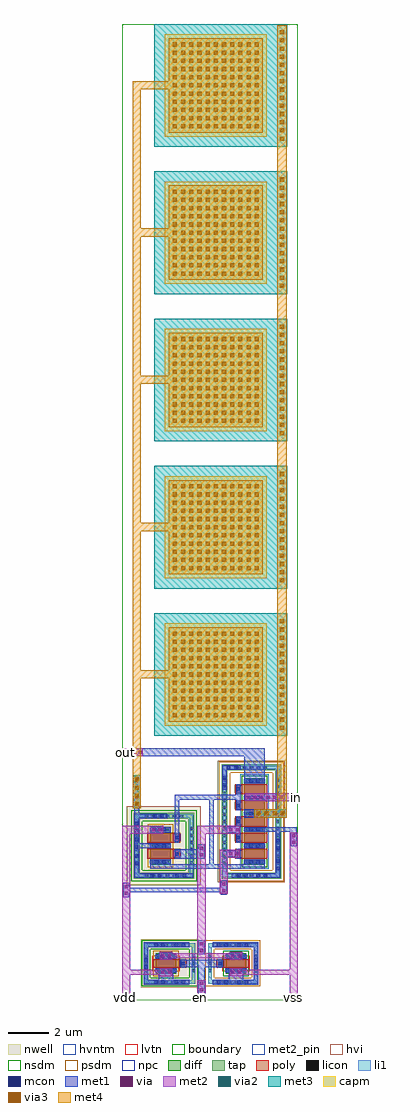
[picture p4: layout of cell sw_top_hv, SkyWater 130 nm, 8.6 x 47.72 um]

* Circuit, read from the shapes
.subckt sw_top_hv en in out vdd vss
XM1 n1 en vss vss sky130_fd_pr__nfet_01v8_lvt w=1 l=0.4
XM2 n2 vdd n3 vss sky130_fd_pr__nfet_g5v0d10v5 w=1 l=0.5
XM3 vss n1 n2 vss sky130_fd_pr__nfet_g5v0d10v5 w=1 l=0.5
XM4 n4 n1 vss vss sky130_fd_pr__nfet_g5v0d10v5 w=1 l=0.5
XM5 in n3 n4 vss sky130_fd_pr__nfet_g5v0d10v5 w=1 l=0.5
XM6 out n3 in vss sky130_fd_pr__nfet_g5v0d10v5 w=1 l=0.5
XM7 n5 n1 n3 n5 sky130_fd_pr__pfet_g5v0d10v5 w=1 l=0.5
XM8 vdd n3 n5 n5 sky130_fd_pr__pfet_g5v0d10v5 w=1 l=0.5
XM9 n1 en vdd vdd sky130_fd_pr__pfet_01v8_lvt w=1 l=0.4
XC10 n5 n4 sky130_fd_pr__cap_mim_m3_1 w=5 l=5 m=5
.ends

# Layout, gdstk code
from math import pi, radians
import gdstk
lib = gdstk.Library(unit=1e-6, precision=1e-09)
def R(c, l, rs):  # rectangles x0, y0, x1, y1
    for r in rs: c.add(gdstk.rectangle(r[:2], r[2:], *l))
def A(c, l, x, y, w, h, nx, ny, dx, dy):  # array of equal rectangles
    R(c, l, [(x+i*dx, y+j*dy, x+i*dx+w, y+j*dy+h) for i in range(nx) for j in range(ny)])
nwell = (64, 20)
diff = (65, 20)
tap = (65, 44)
poly = (66, 20)
licon = (66, 44)
li1 = (67, 20)
mcon = (67, 44)
met1 = (68, 20)
via = (68, 44)
met2_pin = (69, 16)
met2 = (69, 20)
via2 = (69, 44)
met3 = (70, 20)
via3 = (70, 44)
met4 = (71, 20)
hvi = (75, 20)
capm = (89, 44)
nsdm = (93, 44)
psdm = (94, 20)
npc = (95, 20)
hvntm = (125, 20)
lvtn = (125, 44)
boundary = (235, 4)

msn = lib.new_cell('Msn')
R(msn, diff, [(-0.345,-2.12,0.655,2.12)])
R(msn, tap, [(-1.455,-2.79,-1.165,2.79), (-1.165,-2.79,1.165,-2.5), (1.165,-2.79,1.455,2.79), (-1.165,2.5,1.165,2.79)])
A(msn, poly, -0.785, -1.83, 1.57, 0.5, 1, 5, 0, 0.79)
A(msn, licon, -0.765, -2.73, 0.17, 0.17, 5, 2, 0.34, 5.29)
A(msn, licon, -1.395, -2.125, 0.17, 0.17, 1, 13, 0, 0.34)
A(msn, licon, 1.225, -2.125, 0.17, 0.17, 1, 13, 0, 0.34)
A(msn, licon, -0.27, -2.06, 0.17, 0.17, 3, 6, 0.34, 0.79)
A(msn, licon, -0.705, -1.665, 0.17, 0.17, 1, 5, 0, 0.79)
A(msn, li1, -0.365, -2.06, 1.04, 0.17, 1, 6, 0, 0.79)
A(msn, li1, -0.705, -1.83, 0.17, 0.5, 1, 5, 0, 0.79)
R(msn, li1, [(-1.395,-2.73,-1.225,2.73), (-1.225,-2.73,1.225,-2.56), (1.225,-2.73,1.395,2.73), (-1.225,2.56,1.225,2.73)])
A(msn, mcon, -0.11, -2.06, 0.17, 0.17, 1, 6, 0, 0.79)
A(msn, mcon, 0.25, -2.06, 0.17, 0.17, 1, 6, 0, 0.79)
A(msn, mcon, -0.705, -1.665, 0.17, 0.17, 1, 5, 0, 0.79)
A(msn, met1, -0.345, -2.09, 1, 0.23, 1, 6, 0, 0.79)
A(msn, met1, -0.735, -1.81, 0.23, 0.46, 1, 5, 0, 0.79)
R(msn, hvi, [(-1.64,-2.975,1.64,2.975)])
R(msn, nsdm, [(-0.47,-2.245,0.78,2.245)])
R(msn, psdm, [(-1.58,-2.915,-1.04,2.915), (-1.04,-2.915,1.04,-2.375), (1.04,-2.915,1.58,2.915), (-1.04,2.375,1.04,2.915)])
A(msn, npc, -0.805, -1.765, 0.37, 0.37, 1, 5, 0, 0.79)
R(msn, hvntm, [(-0.53,-2.305,0.84,2.305)])
R(msn, boundary, [(-1.31,-2.645,1.31,2.645)])

via_m2_m3_6 = lib.new_cell('via_M2_M3$6')
R(via_m2_m3_6, met2, [(-0.4,0,0,0.8)])
R(via_m2_m3_6, via2, [(-0.3,0.1,-0.1,0.3), (-0.3,0.1,-0.1,0.3), (-0.3,0.5,-0.1,0.7), (-0.3,0.5,-0.1,0.7)])
R(via_m2_m3_6, met3, [(-0.4,0,0,0.8)])

via_m1_m2_7 = lib.new_cell('via_M1_M2$7')
R(via_m1_m2_7, met1, [(-0.35,0,-0.05,0.7)])
R(via_m1_m2_7, via, [(-0.275,0.115,-0.125,0.265), (-0.275,0.435,-0.125,0.585)])
R(via_m1_m2_7, met2, [(-0.4,0.05,0,0.65)])

dacswtinv__mn = lib.new_cell('dacswtinv__MN')
R(dacswtinv__mn, diff, [(-0.345,-0.49,0.655,0.49)])
R(dacswtinv__mn, tap, [(-1.215,-1,-1.045,1), (-1.045,-1,1.045,-0.83), (1.045,-1,1.215,1), (-1.045,0.83,1.045,1)])
R(dacswtinv__mn, poly, [(-0.785,-0.2,0.785,0.2)])
A(dacswtinv__mn, licon, -0.595, -1, 0.17, 0.17, 4, 2, 0.34, 1.83)
A(dacswtinv__mn, licon, -0.27, -0.43, 0.17, 0.17, 3, 2, 0.34, 0.69)
A(dacswtinv__mn, licon, -1.215, -0.425, 0.17, 0.17, 1, 3, 0, 0.34)
A(dacswtinv__mn, licon, 1.045, -0.425, 0.17, 0.17, 1, 3, 0, 0.34)
R(dacswtinv__mn, licon, [(-0.705,-0.085,-0.535,0.085)])
R(dacswtinv__mn, li1, [(-1.215,-1,-1.045,1), (-1.045,-1,1.045,-0.83), (1.045,-1,1.215,1), (-0.365,-0.43,0.675,-0.26), (-0.705,-0.2,-0.535,0.2), (-0.365,0.26,0.675,0.43), (-1.045,0.83,1.045,1)])
R(dacswtinv__mn, mcon, [(-0.11,-0.43,0.06,-0.26), (0.25,-0.43,0.42,-0.26), (-0.705,-0.085,-0.535,0.085), (-0.11,0.26,0.06,0.43), (0.25,0.26,0.42,0.43)])
R(dacswtinv__mn, met1, [(-0.345,-0.46,0.655,-0.23), (-0.735,-0.18,-0.505,0.18), (-0.345,0.23,0.655,0.46)])
R(dacswtinv__mn, nsdm, [(-0.47,-0.615,0.78,0.615)])
R(dacswtinv__mn, psdm, [(-1.34,-1.125,-0.92,1.125), (-0.92,-1.125,0.92,-0.705), (0.92,-1.125,1.34,1.125), (-0.92,0.705,0.92,1.125)])
R(dacswtinv__mn, npc, [(-0.805,-0.185,-0.435,0.185)])
R(dacswtinv__mn, lvtn, [(-0.525,-0.38,0.835,0.38)])
R(dacswtinv__mn, boundary, [(-1.13,-0.915,1.13,0.915)])

via_li_m1_2 = lib.new_cell('via_LI_M1$2')
R(via_li_m1_2, li1, [(-0.2,0.03,-0.03,0.56)])
R(via_li_m1_2, mcon, [(-0.2,0.03,-0.03,0.2), (-0.2,0.39,-0.03,0.56)])
R(via_li_m1_2, met1, [(-0.23,0,0,0.59)])

dacswtinv__mp = lib.new_cell('dacswtinv__MP')
R(dacswtinv__mp, nwell, [(-1.42,-1.18,1.42,1.18)])
R(dacswtinv__mp, diff, [(-0.68,-0.49,0.32,0.49)])
R(dacswtinv__mp, tap, [(-1.24,-1,-1.07,1), (-1.07,-1,1.07,-0.83), (1.07,-1,1.24,1), (-1.07,0.83,1.07,1)])
R(dacswtinv__mp, poly, [(-0.81,-0.2,0.805,0.2)])
A(dacswtinv__mp, licon, -0.595, -1, 0.17, 0.17, 4, 2, 0.34, 1.83)
A(dacswtinv__mp, licon, -0.605, -0.43, 0.17, 0.17, 3, 2, 0.34, 0.69)
A(dacswtinv__mp, licon, -1.24, -0.425, 0.17, 0.17, 1, 3, 0, 0.34)
A(dacswtinv__mp, licon, 1.07, -0.425, 0.17, 0.17, 1, 3, 0, 0.34)
R(dacswtinv__mp, licon, [(0.555,-0.085,0.725,0.085)])
R(dacswtinv__mp, li1, [(-1.24,-1,-1.07,1), (-1.07,-1,1.07,-0.83), (1.07,-1,1.24,1), (-0.7,-0.43,0.34,-0.26), (0.555,-0.2,0.725,0.2), (-0.7,0.26,0.34,0.43), (-1.07,0.83,1.07,1)])
R(dacswtinv__mp, mcon, [(-0.445,-0.43,-0.275,-0.26), (-0.085,-0.43,0.085,-0.26), (0.555,-0.085,0.725,0.085), (-0.445,0.26,-0.275,0.43), (-0.085,0.26,0.085,0.43)])
R(dacswtinv__mp, met1, [(-0.68,-0.46,0.32,-0.23), (0.525,-0.18,0.755,0.18), (-0.68,0.23,0.32,0.46)])
R(dacswtinv__mp, nsdm, [(-1.365,-1.125,-0.945,1.125), (-0.945,-1.125,0.945,-0.705), (0.945,-1.125,1.365,1.125), (-0.945,0.705,0.945,1.125)])
R(dacswtinv__mp, psdm, [(-0.805,-0.615,0.445,0.615)])
R(dacswtinv__mp, npc, [(0.455,-0.185,0.825,0.185)])
R(dacswtinv__mp, lvtn, [(-0.86,-0.38,0.5,0.38)])
R(dacswtinv__mp, boundary, [(-1.155,-0.915,1.155,0.915)])

dacswt__inv_lvt = lib.new_cell('dacswt__inv_lvt')
R(dacswt__inv_lvt, met1, [(-4.96,0.38,-4.26,0.6), (-1.535,0.38,-0.835,0.6), (-3.025,0.85,-2.725,1), (-3.905,1,-1.845,1.36), (-3.025,1.875,-2.725,2.025)])
R(dacswt__inv_lvt, boundary, [(-5.85,0,0,2.36)])
dacswt__inv_lvt.add(gdstk.FlexPath([(-3.585,0.265),(-5.585,0.265)], 0.23, ends="extended", simple_path=True, layer=68, datatype=20))  # met1
dacswt__inv_lvt.add(gdstk.FlexPath([(-5.585,0.265),(-5.585,2.095)], 0.23, ends="extended", simple_path=True, layer=68, datatype=20))  # met1
dacswt__inv_lvt.add(gdstk.FlexPath([(-3.585,2.095),(-5.585,2.095)], 0.23, ends="extended", simple_path=True, layer=68, datatype=20))  # met1
dacswt__inv_lvt.add(gdstk.FlexPath([(-2.21,0.265),(-0.21,0.265)], 0.23, ends="extended", simple_path=True, layer=68, datatype=20))  # met1
dacswt__inv_lvt.add(gdstk.FlexPath([(-0.21,0.265),(-0.21,2.095)], 0.23, ends="extended", simple_path=True, layer=68, datatype=20))  # met1
dacswt__inv_lvt.add(gdstk.FlexPath([(-2.21,2.095),(-0.21,2.095)], 0.23, ends="extended", simple_path=True, layer=68, datatype=20))  # met1
dacswt__inv_lvt.add(gdstk.FlexPath([(-5.025,0.75),(-5.735,0.75)], 0.23, ends="extended", simple_path=True, layer=69, datatype=20))  # met2
dacswt__inv_lvt.add(gdstk.FlexPath([(-0.77,0.75),(-0.115,0.75)], 0.23, ends="extended", simple_path=True, layer=69, datatype=20))  # met2
dacswt__inv_lvt.add(gdstk.FlexPath([(-4.195,1.56),(-1.6,1.56)], 0.23, ends="extended", simple_path=True, layer=69, datatype=20))  # met2
dacswt__inv_lvt.add(gdstk.Reference(dacswtinv__mn, (-1.34,1.18)))
dacswt__inv_lvt.add(gdstk.Reference(via_li_m1_2, (-4.225,0.15), rotation=3*pi/2))
dacswt__inv_lvt.add(gdstk.Reference(via_m1_m2_7, (-4.96,1.36), rotation=3*pi/2))
dacswt__inv_lvt.add(gdstk.Reference(via_m1_m2_7, (-4.96,0.55), rotation=3*pi/2))
dacswt__inv_lvt.add(gdstk.Reference(via_m1_m2_7, (-1.535,1.36), rotation=3*pi/2))
dacswt__inv_lvt.add(gdstk.Reference(via_m1_m2_7, (-1.535,0.55), rotation=3*pi/2))
dacswt__inv_lvt.add(gdstk.Reference(via_li_m1_2, (-5.225,0.15), rotation=3*pi/2))
dacswt__inv_lvt.add(gdstk.Reference(via_li_m1_2, (-4.225,1.98), rotation=3*pi/2))
dacswt__inv_lvt.add(gdstk.Reference(via_li_m1_2, (-5.225,1.98), rotation=3*pi/2))
dacswt__inv_lvt.add(gdstk.Reference(via_li_m1_2, (-5.7,1.475), rotation=pi))
dacswt__inv_lvt.add(gdstk.Reference(via_li_m1_2, (-1.57,0.15), rotation=3*pi/2, x_reflection=True))
dacswt__inv_lvt.add(gdstk.Reference(dacswtinv__mp, (-4.43,1.18)))
dacswt__inv_lvt.add(gdstk.Reference(via_li_m1_2, (-0.57,0.15), rotation=3*pi/2, x_reflection=True))
dacswt__inv_lvt.add(gdstk.Reference(via_li_m1_2, (-1.57,1.98), rotation=3*pi/2, x_reflection=True))
dacswt__inv_lvt.add(gdstk.Reference(via_li_m1_2, (-0.57,1.98), rotation=3*pi/2, x_reflection=True))
dacswt__inv_lvt.add(gdstk.Reference(via_li_m1_2, (-0.095,1.475), x_reflection=True))
dacswt__inv_lvt.add(gdstk.Reference(via_m1_m2_7, (-2.675,1.625)))

msp = lib.new_cell('Msp')
R(msp, nwell, [(-1.81,-1.935,1.81,1.935)])
R(msp, diff, [(-0.32,-0.935,0.68,0.935)])
R(msp, tap, [(-1.48,-1.605,-1.19,1.605), (-1.19,-1.605,1.19,-1.315), (1.19,-1.605,1.48,1.605), (-1.19,1.315,1.19,1.605)])
R(msp, poly, [(-0.805,-0.645,0.81,-0.145), (-0.805,0.145,0.81,0.645)])
A(msp, licon, -0.935, -1.545, 0.17, 0.17, 6, 2, 0.34, 2.92)
A(msp, licon, -1.42, -0.935, 0.17, 0.17, 1, 6, 0, 0.34)
A(msp, licon, 1.25, -0.935, 0.17, 0.17, 1, 6, 0, 0.34)
A(msp, licon, -0.245, -0.875, 0.17, 0.17, 3, 3, 0.34, 0.79)
R(msp, licon, [(-0.725,-0.48,-0.555,-0.31), (-0.725,0.31,-0.555,0.48)])
A(msp, li1, -0.34, -0.875, 1.04, 0.17, 1, 3, 0, 0.79)
R(msp, li1, [(-1.42,-1.545,-1.25,1.545), (-1.25,-1.545,1.25,-1.375), (1.25,-1.545,1.42,1.545), (-0.725,-0.645,-0.555,-0.145), (-0.725,0.145,-0.555,0.645), (-1.25,1.375,1.25,1.545)])
A(msp, mcon, -0.085, -0.875, 0.17, 0.17, 1, 3, 0, 0.79)
A(msp, mcon, 0.275, -0.875, 0.17, 0.17, 1, 3, 0, 0.79)
R(msp, mcon, [(-0.725,-0.48,-0.555,-0.31), (-0.725,0.31,-0.555,0.48)])
A(msp, met1, -0.32, -0.905, 1, 0.23, 1, 3, 0, 0.79)
R(msp, met1, [(-0.755,-0.625,-0.525,-0.165), (-0.755,0.165,-0.525,0.625)])
R(msp, hvi, [(-1.81,-1.935,1.81,1.935)])
R(msp, nsdm, [(-1.605,-1.73,-1.065,1.73), (-1.065,-1.73,1.065,-1.19), (1.065,-1.73,1.605,1.73), (-1.065,1.19,1.065,1.73)])
R(msp, psdm, [(-0.445,-1.06,0.805,1.06)])
R(msp, npc, [(-0.825,-0.58,-0.455,-0.21), (-0.825,0.21,-0.455,0.58)])
R(msp, boundary, [(-1.335,-1.46,1.335,1.46)])

via_m3_m4_4 = lib.new_cell('via_M3_M4$4')
R(via_m3_m4_4, met3, [(-0.4,0,0,0.8)])
R(via_m3_m4_4, via3, [(-0.3,0.1,-0.1,0.3), (-0.3,0.5,-0.1,0.7)])
R(via_m3_m4_4, met4, [(-0.4,0,0,0.8)])

dacswt__cbs = lib.new_cell('dacswt__cbs')
R(dacswt__cbs, met3, [(-3,-3.25,3,3.245)])
A(dacswt__cbs, via3, -2.1, -2.35, 0.2, 0.2, 11, 11, 0.4, 0.4)
A(dacswt__cbs, via3, -2.7, 2.885, 0.2, 0.2, 14, 1, 0.4, 0)
R(dacswt__cbs, met4, [(-2.305,-2.555,2.305,2.055), (-2.94,2.745,2.94,3.225)])
R(dacswt__cbs, capm, [(-2.5,-2.75,2.5,2.25)])
R(dacswt__cbs, boundary, [(-3,-3.25,3,2.75)])

sw_top_hv = lib.new_cell('sw_top_hv')
R(sw_top_hv, met1, [(-4.865,0.265,-4.565,1.455), (-8.55,5.265,-3.485,5.495), (-7.23,6.405,-1.625,6.635), (-6.025,6.915,-4.565,7.375), (-8,7.425,-7.23,7.655), (-3.015,7.705,-2.785,8.955), (-6.53,8.18,-6.23,8.48), (-1.625,8.215,-0.05,8.445), (-2.625,8.92,-0.545,9.32), (-1.625,9.005,-1.24,9.235), (-3.015,9.285,-2.785,10.535), (-8.085,9.385,-7.685,10.985), (-2.575,9.71,-0.625,10.11), (-2.625,10.585,-1.625,12.31), (-8.23,11.91,-1.625,12.31)])
R(sw_top_hv, met2_pin, [(-8.6,0,-8.2,0.2), (-4.915,0,-4.515,0.2), (-0.4,0,0,0.2), (-0.21,9.71,0,10.11), (-8.6,11.91,-8.325,12.31)])
R(sw_top_hv, met2, [(-8.6,0,-8.2,8.53), (-4.915,0,-4.515,0.36), (-0.4,0,0,8.165), (-8.6,1.24,-7.69,1.47), (-1.84,1.245,0,1.47), (-4.915,2.88,-4.515,8.53), (-3.835,5.2,-3.435,7.345), (-8.6,8.13,-7.18,8.53), (-4.915,8.13,-3.435,8.53), (-2.575,9.71,-0.37,10.11), (-0.37,9.71,0,10.11), (-8.6,11.91,-8.18,12.31)])
R(sw_top_hv, boundary, [(-8.6,0,0,47.715)])
sw_top_hv.add(gdstk.FlexPath([(-3.13,6.08),(-0.97,6.08),(-0.97,8.33)], 0.23, ends="extended", simple_path=True, layer=68, datatype=20))  # met1
sw_top_hv.add(gdstk.FlexPath([(-2.9,9.91),(-4.225,9.91),(-4.225,6.52)], 0.23, ends="extended", simple_path=True, layer=68, datatype=20))  # met1
sw_top_hv.add(gdstk.FlexPath([(-5.245,6.08),(-7.885,6.08),(-7.885,9),(-6.515,9)], 0.23, ends="extended", simple_path=True, layer=68, datatype=20))  # met1
sw_top_hv.add(gdstk.FlexPath([(-7.885,8.655),(-7.885,9.53)], 0.23, ends="extended", simple_path=True, layer=68, datatype=20))  # met1
sw_top_hv.add(gdstk.FlexPath([(-3.59,10.385),(-3.59,11.37),(-2.915,11.37)], 0.23, ends="extended", simple_path=True, layer=68, datatype=20))  # met1
sw_top_hv.add(gdstk.FlexPath([(-4.225,9.91),(-5.91,9.91),(-5.91,7.82)], 0.23, ends="extended", simple_path=True, layer=68, datatype=20))  # met1
sw_top_hv.add(gdstk.FlexPath([(-0.78,9.56),(-0.78,47.415)], 0.48, ends="extended", simple_path=True, layer=71, datatype=20))  # met4
sw_top_hv.add(gdstk.FlexPath([(-7.885,9.97),(-7.885,44.72)], 0.4, ends="extended", simple_path=True, layer=71, datatype=20))  # met4
sw_top_hv.add(gdstk.FlexPath([(-6.52,23.12),(-7.885,23.12)], 0.4, ends="extended", simple_path=True, layer=71, datatype=20))  # met4
sw_top_hv.add(gdstk.FlexPath([(-6.52,30.32),(-7.885,30.32)], 0.4, ends="extended", simple_path=True, layer=71, datatype=20))  # met4
sw_top_hv.add(gdstk.FlexPath([(-6.52,37.52),(-7.885,37.52)], 0.4, ends="extended", simple_path=True, layer=71, datatype=20))  # met4
sw_top_hv.add(gdstk.FlexPath([(-6.52,15.92),(-7.885,15.92)], 0.4, ends="extended", simple_path=True, layer=71, datatype=20))  # met4
sw_top_hv.add(gdstk.FlexPath([(-6.52,44.72),(-7.885,44.72)], 0.4, ends="extended", simple_path=True, layer=71, datatype=20))  # met4
sw_top_hv.add(gdstk.Reference(msn, (-2.28,8.725)))
sw_top_hv.add(gdstk.Reference(via_m2_m3_6, (-8.085,10.985), rotation=pi))
sw_top_hv.add(gdstk.Reference(via_m1_m2_7, (-1.325,9.71), rotation=3*pi/2))
sw_top_hv.add(gdstk.Reference(via_m1_m2_7, (-1.975,9.71), rotation=3*pi/2))
sw_top_hv.add(gdstk.Reference(via_m1_m2_7, (-8.23,11.91), rotation=3*pi/2))
sw_top_hv.add(gdstk.Reference(via_m1_m2_7, (-2.625,9.71), rotation=3*pi/2))
sw_top_hv.add(gdstk.Reference(dacswt__inv_lvt, (-1.84,0.605)))
sw_top_hv.add(gdstk.Reference(via_m1_m2_7, (-4.515,0.31)))
sw_top_hv.add(gdstk.Reference(via_m1_m2_7, (0,7.515)))
sw_top_hv.add(gdstk.Reference(via_m1_m2_7, (-4.515,6.915)))
sw_top_hv.add(gdstk.Reference(via_m1_m2_7, (-8.2,5.03)))
sw_top_hv.add(gdstk.Reference(via_m1_m2_7, (-3.435,5.15)))
sw_top_hv.add(gdstk.Reference(via_m2_m3_6, (-0.54,9.32), rotation=pi/2))
sw_top_hv.add(gdstk.Reference(via_m1_m2_7, (-1.29,8.92), rotation=3*pi/2))
sw_top_hv.add(gdstk.Reference(via_li_m1_2, (-0.855,6.32)))
sw_top_hv.add(gdstk.Reference(via_li_m1_2, (-0.855,7.315)))
sw_top_hv.add(gdstk.Reference(via_li_m1_2, (-2.065,5.965), rotation=3*pi/2))
sw_top_hv.add(gdstk.Reference(via_li_m1_2, (-3.005,5.965), rotation=3*pi/2))
sw_top_hv.add(gdstk.Reference(msp, (-6.55,7.54), rotation=pi))
sw_top_hv.add(gdstk.Reference(via_m1_m2_7, (-6.53,8.53), rotation=pi/2))
sw_top_hv.add(gdstk.Reference(via_li_m1_2, (-7.255,5.965), rotation=3*pi/2))
sw_top_hv.add(gdstk.Reference(via_li_m1_2, (-6.02,5.965), rotation=3*pi/2))
sw_top_hv.add(gdstk.Reference(via_li_m1_2, (-7.77,6.56)))
sw_top_hv.add(gdstk.Reference(via_li_m1_2, (-7.77,7.36)))
sw_top_hv.add(gdstk.Reference(via_li_m1_2, (-7.77,8.16)))
sw_top_hv.add(gdstk.Reference(via_m2_m3_6, (-8.085,10.185), rotation=pi))
sw_top_hv.add(gdstk.Reference(via_li_m1_2, (-7.11,8.885), rotation=3*pi/2))
sw_top_hv.add(gdstk.Reference(via_m1_m2_7, (-7.685,9.385)))
sw_top_hv.add(gdstk.Reference(via_m3_m4_4, (-7.685,9.385)))
sw_top_hv.add(gdstk.Reference(dacswt__cbs, (-3.765,23.115), rotation=3*pi/2))
sw_top_hv.add(gdstk.Reference(dacswt__cbs, (-3.765,30.315), rotation=3*pi/2))
sw_top_hv.add(gdstk.Reference(dacswt__cbs, (-3.765,37.515), rotation=3*pi/2))
sw_top_hv.add(gdstk.Reference(via_m1_m2_7, (-7.685,10.185)))
sw_top_hv.add(gdstk.Reference(via_li_m1_2, (-3.505,11.255), rotation=3*pi/2))
sw_top_hv.add(gdstk.Reference(via_m3_m4_4, (-7.685,10.185)))
sw_top_hv.add(gdstk.Reference(via_m3_m4_4, (-1.34,8.92), rotation=3*pi/2))
sw_top_hv.add(gdstk.Reference(via_m2_m3_6, (-1.34,9.32), rotation=pi/2))
sw_top_hv.add(gdstk.Reference(via_m1_m2_7, (-2.09,8.92), rotation=3*pi/2))
sw_top_hv.add(gdstk.Reference(via_m3_m4_4, (-2.14,8.92), rotation=3*pi/2))
sw_top_hv.add(gdstk.Reference(via_m1_m2_7, (-2.785,7.345), rotation=pi/2))
sw_top_hv.add(gdstk.Reference(via_li_m1_2, (-3.705,10.975), rotation=pi))
sw_top_hv.add(gdstk.Reference(via_m1_m2_7, (-2.785,8.53), rotation=pi/2))
sw_top_hv.add(gdstk.Reference(dacswt__cbs, (-3.765,15.915), rotation=3*pi/2))
sw_top_hv.add(gdstk.Reference(dacswt__cbs, (-3.765,44.715), rotation=3*pi/2))
sw_top_hv.add(gdstk.Label('out', (-8.455,12.105), layer=69, texttype=16))
sw_top_hv.add(gdstk.Label('in', (-0.085,9.905), layer=69, texttype=16))
sw_top_hv.add(gdstk.Label('vss', (-0.23,0.105), layer=69, texttype=16))
sw_top_hv.add(gdstk.Label('en', (-4.745,0.105), layer=69, texttype=16))
sw_top_hv.add(gdstk.Label('vdd', (-8.43,0.105), layer=69, texttype=16))

lib.write_gds('sw_top_hv.gds')
